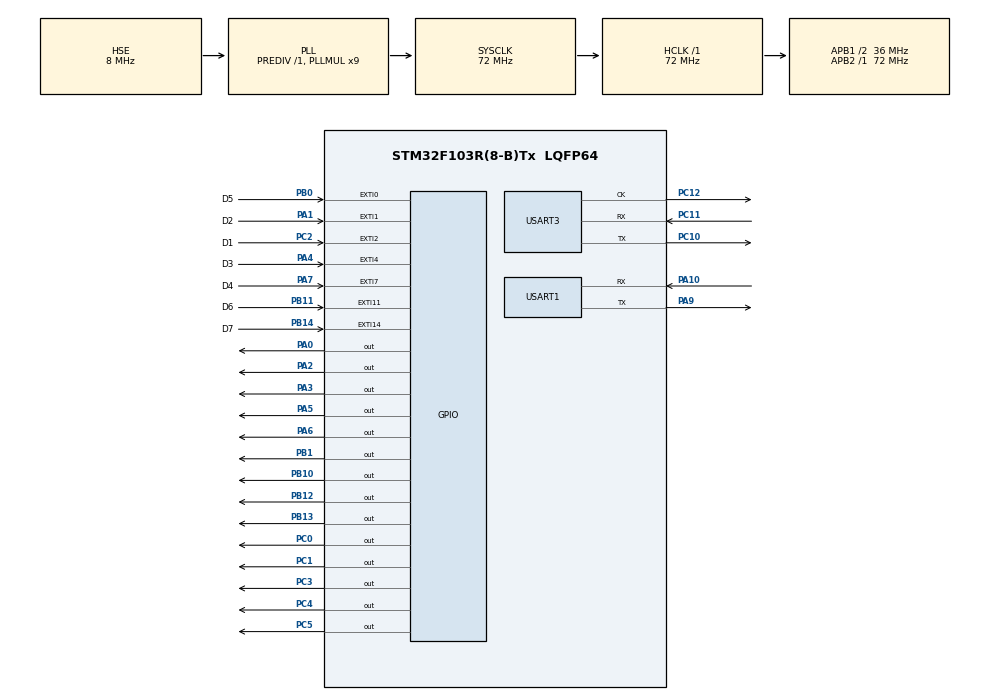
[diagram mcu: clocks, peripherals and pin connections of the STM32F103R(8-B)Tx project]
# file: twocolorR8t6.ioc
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FREERTOS.Tasks01=defaultTask,24,128,StartDefaultTask,Default,NULL,Dynamic,NULL,NULL;myTask02,8,128,StartTask02,As weak,NULL,Dynamic,NULL,NULL;myTask03,8,128,StartTask03,As weak,NULL,Dynamic,NULL,NULL;myTask04,8,128,StartTask04,As weak,NULL,Dynamic,NULL,NULL;myTask05,8,128,StartTask05,As weak,NULL,Dynamic,NULL,NULL;myTask06,8,128,StartTask06,As weak,NULL,Dynamic,NULL,NULL;myTask07,8,128,StartTask07,As weak,NULL,Dynamic,NULL,NULL
FREERTOS.configTOTAL_HEAP_SIZE=6072
Mcu.Family=STM32F1
Mcu.Name=STM32F103R(8-B)Tx
Mcu.Package=LQFP64
NVIC.EXTI0_IRQn=true\:5\:0\:true\:false\:true\:true\:true\:true\:true
NVIC.EXTI15_10_IRQn=true\:5\:0\:true\:false\:true\:true\:true\:true\:true
NVIC.EXTI1_IRQn=true\:5\:0\:true\:false\:true\:true\:true\:true\:true
NVIC.EXTI2_IRQn=true\:5\:0\:true\:false\:true\:true\:true\:true\:true
NVIC.EXTI4_IRQn=true\:5\:0\:true\:false\:true\:true\:true\:true\:true
NVIC.EXTI9_5_IRQn=true\:5\:0\:true\:false\:true\:true\:true\:true\:true
NVIC.PriorityGroup=NVIC_PRIORITYGROUP_4
NVIC.TIM3_IRQn=true\:5\:0\:false\:false\:true\:true\:true\:true\:true
NVIC.USART1_IRQn=true\:0\:0\:true\:false\:true\:true\:true\:true\:true
PA0-WKUP.Signal=GPIO_Output
PA1.GPIO_Label=D2
PA1.GPIO_ModeDefaultEXTI=GPIO_MODE_IT_RISING_FALLING
PA1.GPIO_PuPd=GPIO_PULLDOWN
PA1.Signal=GPXTI1
PA10.Mode=Asynchronous
PA10.Signal=USART1_RX
PA13.Mode=Serial_Wire
PA13.Signal=SYS_JTMS-SWDIO
PA14.Mode=Serial_Wire
PA14.Signal=SYS_JTCK-SWCLK
PA2.Signal=GPIO_Output
PA3.Signal=GPIO_Output
PA4.GPIO_Label=D3
PA4.GPIO_ModeDefaultEXTI=GPIO_MODE_IT_RISING_FALLING
PA4.GPIO_PuPd=GPIO_PULLDOWN
PA4.Signal=GPXTI4
PA5.Signal=GPIO_Output
PA6.Signal=GPIO_Output
PA7.GPIO_Label=D4
PA7.GPIO_ModeDefaultEXTI=GPIO_MODE_IT_RISING_FALLING
PA7.GPIO_PuPd=GPIO_PULLDOWN
PA7.Signal=GPXTI7
PA9.Mode=Asynchronous
PA9.Signal=USART1_TX
PB0.GPIO_Label=D5
PB0.GPIO_ModeDefaultEXTI=GPIO_MODE_IT_RISING_FALLING
PB0.GPIO_PuPd=GPIO_PULLDOWN
PB0.Signal=GPXTI0
PB1.Signal=GPIO_Output
PB10.Signal=GPIO_Output
PB11.GPIO_Label=D6
PB11.GPIO_ModeDefaultEXTI=GPIO_MODE_IT_RISING_FALLING
PB11.GPIO_PuPd=GPIO_PULLDOWN
PB11.Signal=GPXTI11
PB12.Signal=GPIO_Output
PB13.Signal=GPIO_Output
PB14.GPIO_Label=D7
PB14.GPIO_ModeDefaultEXTI=GPIO_MODE_IT_RISING_FALLING
PB14.GPIO_PuPd=GPIO_PULLDOWN
PB14.Signal=GPXTI14
PC0.Signal=GPIO_Output
PC1.Signal=GPIO_Output
PC10.Mode=Synchronous
PC10.Signal=USART3_TX
PC11.Mode=Synchronous
PC11.Signal=USART3_RX
PC12.Mode=Synchronous
PC12.Signal=USART3_CK
PC14-OSC32_IN.Mode=LSE-External-Oscillator
PC14-OSC32_IN.Signal=RCC_OSC32_IN
PC15-OSC32_OUT.Mode=LSE-External-Oscillator
PC15-OSC32_OUT.Signal=RCC_OSC32_OUT
PC2.GPIO_Label=D1
PC2.GPIO_ModeDefaultEXTI=GPIO_MODE_IT_RISING_FALLING
PC2.GPIO_PuPd=GPIO_PULLDOWN
PC2.Signal=GPXTI2
PC3.Signal=GPIO_Output
PC4.Signal=GPIO_Output
PC5.Signal=GPIO_Output
PD0-OSC_IN.Mode=HSE-External-Oscillator
PD0-OSC_IN.Signal=RCC_OSC_IN
PD1-OSC_OUT.Mode=HSE-External-Oscillator
PD1-OSC_OUT.Signal=RCC_OSC_OUT
ProjectManager.HeapSize=0x200
ProjectManager.StackSize=0x400
ProjectManager.TargetToolchain=STM32CubeIDE
RCC.AHBFreq_Value=72000000
RCC.APB1CLKDivider=RCC_HCLK_DIV2
RCC.APB1Freq_Value=36000000
RCC.APB1TimFreq_Value=72000000
RCC.APB2Freq_Value=72000000
RCC.APB2TimFreq_Value=72000000
RCC.HCLKFreq_Value=72000000
RCC.PLLMUL=RCC_PLL_MUL9
RCC.PLLSourceVirtual=RCC_PLLSOURCE_HSE
RCC.SYSCLKFreq_VALUE=72000000
RCC.SYSCLKSource=RCC_SYSCLKSOURCE_PLLCLK
RCC.USBFreq_Value=72000000
TIM3.AutoReloadPreload=TIM_AUTORELOAD_PRELOAD_ENABLE
TIM3.Period=49
TIM3.Prescaler=8399
USART1.VirtualMode=VM_ASYNC
USART3.VirtualMode=VM_SYNC
VP_FREERTOS_VS_CMSIS_V2.Mode=CMSIS_V2
VP_TIM3_VS_ClockSourceINT.Mode=Internal
board=custom

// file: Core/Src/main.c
/* USER CODE BEGIN Header */
/**
  ******************************************************************************
  * @file           : main.c
  * @brief          : Main program body
  ******************************************************************************
  * @attention
  *
  * Copyright (c) 2023 STMicroelectronics.
  * All rights reserved.
  *
  * This software is licensed under terms that can be found in the LICENSE file
  * in the root directory of this software component.
  * If no LICENSE file comes with this software, it is provided AS-IS.
  *
  ******************************************************************************
  */
/* USER CODE END Header */
#include "main.h"
#include "cmsis_os.h"
#include "tim.h"
#include "usart.h"
#include "gpio.h"

/* USER CODE BEGIN PD */
extern uint8_t uart1_rx_buf[UART1_RXSIZE];
/* USER CODE END PD */

/* USER CODE BEGIN PM */
char led1 = 0;
char led2 = 0;
char led3 = 0;
char led4 = 0;
char led5 = 0;
char led6 = 0;
char led7 = 0;

/* USER CODE END PM */

void SystemClock_Config(void);
void MX_FREERTOS_Init(void);

int main(void)
{

  /* MCU Configuration--------------------------------------------------------*/

  /* Reset of all peripherals, Initializes the Flash interface and the Systick. */
  HAL_Init();

  /* Configure the system clock */
  SystemClock_Config();

  /* Initialize all configured peripherals */
  MX_GPIO_Init();
  MX_USART1_UART_Init();
  MX_USART3_Init();
  MX_TIM3_Init();
  /* USER CODE BEGIN 2 */
  E_USART_INIT(&huart1);

  //HAL_GPIO_WritePin(GPIOA, GPIO_PIN_2, SET);
  red1();
  green1();
  yellowOn1();
  yellowOff1();
  yellowOn1();
  yellowOn2();
  yellowOn3();
  yellowOn4();
  yellowOn5();
  yellowOn6();
  yellowOn7();
  //ledInit();
  /* USER CODE END 2 */

  /* Init scheduler */
  osKernelInitialize();  /* Call init function for freertos objects (in freertos.c) */
  MX_FREERTOS_Init();

  /* Start scheduler */
  osKernelStart();

  /* We should never get here as control is now taken by the scheduler */
  /* Infinite loop */
  while (1)
  {

    /* USER CODE BEGIN 3 */
/*	  uint8_t receive_buff[1024] = {0};
      HAL_UART_Receive(&huart1,receive_buff,10,0xff);// 接收10个字�????????
      if(receive_buff[0] != 0)
      {
      yellowOn7();
      }else{
      yellowOff7();
      }*/
	/*  if(uart1.rx_flag == 1){
		  switch (uart1_rx_buf[0]){
		  case 0xA1:green7();
		  break;
		  case 0xA2:green6();
		  break;
		  case 0xA3:green5();
		  break;
		  case 0xA4:green4();
		  break;
		  case 0xA5:green3();
		  break;
		  case 0xA6:green2();
		  break;
		  case 0xA7:green1();
		  break;
		  case 0xB1:yellowOn7();
		  break;
		  case 0xB2:yellowOn6();
		  break;
		  case 0xB3:yellowOn5();
		  break;
		  case 0xB4:yellowOn4();
		  break;
		  case 0xB5:yellowOn3();
		  break;
		  case 0xB6:yellowOn2();
		  break;
		  case 0xB7:yellowOn1();
		  break;
		  }
		  uart1.rx_flag = 0;
	 }*/
  }
  /* USER CODE END 3 */
}

void SystemClock_Config(void)
{
  RCC_OscInitTypeDef RCC_OscInitStruct = {0};
  RCC_ClkInitTypeDef RCC_ClkInitStruct = {0};

  /** Initializes the RCC Oscillators according to the specified parameters
  * in the RCC_OscInitTypeDef structure.
  */
  RCC_OscInitStruct.OscillatorType = RCC_OSCILLATORTYPE_HSE;
  RCC_OscInitStruct.HSEState = RCC_HSE_ON;
  RCC_OscInitStruct.HSEPredivValue = RCC_HSE_PREDIV_DIV1;
  RCC_OscInitStruct.HSIState = RCC_HSI_ON;
  RCC_OscInitStruct.PLL.PLLState = RCC_PLL_ON;
  RCC_OscInitStruct.PLL.PLLSource = RCC_PLLSOURCE_HSE;
  RCC_OscInitStruct.PLL.PLLMUL = RCC_PLL_MUL9;
  if (HAL_RCC_OscConfig(&RCC_OscInitStruct) != HAL_OK)
  {
    Error_Handler();
  }

  /** Initializes the CPU, AHB and APB buses clocks
  */
  RCC_ClkInitStruct.ClockType = RCC_CLOCKTYPE_HCLK|RCC_CLOCKTYPE_SYSCLK
                              |RCC_CLOCKTYPE_PCLK1|RCC_CLOCKTYPE_PCLK2;
  RCC_ClkInitStruct.SYSCLKSource = RCC_SYSCLKSOURCE_PLLCLK;
  RCC_ClkInitStruct.AHBCLKDivider = RCC_SYSCLK_DIV1;
  RCC_ClkInitStruct.APB1CLKDivider = RCC_HCLK_DIV2;
  RCC_ClkInitStruct.APB2CLKDivider = RCC_HCLK_DIV1;

  if (HAL_RCC_ClockConfig(&RCC_ClkInitStruct, FLASH_LATENCY_2) != HAL_OK)
  {
    Error_Handler();
  }
}

/* USER CODE BEGIN 4 */
void HAL_GPIO_EXTI_Callback(uint16_t GPIO_Pin)//外部中断回调函数
{
	for_delay_us(10000);
//led1
	if(GPIO_Pin == D1_Pin){
	  	  uint8_t TxDataon[2]= {0x01, 0xDD};
	  	  HAL_UART_Transmit(&huart1,TxDataon,2,10);
		if(HAL_GPIO_ReadPin(GPIOC, GPIO_PIN_2) == 1){
			/*yellowOn1();
			for_delay_us(10000);
			yellowOff1();
			for_delay_us(10000);
			yellowOn1();
			for_delay_us(10000);
			yellowOff1();
			for_delay_us(30000);
			HAL_GPIO_WritePin(GPIOC, GPIO_PIN_1, SET);
			HAL_GPIO_WritePin(GPIOC, GPIO_PIN_0, RESET);*/
			led1 = 1;
		}else{
			/*HAL_GPIO_WritePin(GPIOC, GPIO_PIN_1, RESET);
			yellowOn1();
			for_delay_us(10000);
			yellowOff1();
			for_delay_us(10000);
			yellowOn1();
			for_delay_us(10000);
			yellowOff1();
			for_delay_us(30000);
			HAL_GPIO_WritePin(GPIOC, GPIO_PIN_0, SET);
			HAL_GPIO_WritePin(GPIOC, GPIO_PIN_1, RESET);*/
		}
	}
//led2
	if(GPIO_Pin == D2_Pin){
	  	  uint8_t TxDataon[2]= {0x06, 0xDD};
	  	  HAL_UART_Transmit(&huart1,TxDataon,2,10);
		if(HAL_GPIO_ReadPin(GPIOA, GPIO_PIN_1) == 1){
			/*while(1){
				if(uart1_rx_buf[0] == 0xC6){
								break;
							}
			yellowOn2();
			for_delay_us(10000);
			yellowOff2();
			for_delay_us(10000);
			}*/
			led2 = 1;
			//HAL_GPIO_WritePin(GPIOA, GPIO_PIN_0, SET);
			//HAL_GPIO_WritePin(GPIOC, GPIO_PIN_3, RESET);
		}else{
			/*HAL_GPIO_WritePin(GPIOA, GPIO_PIN_0, RESET);
			yellowOn2();
			for_delay_us(10000);
			yellowOff2();
			for_delay_us(10000);
			yellowOn2();
			for_delay_us(10000);
			yellowOff2();
			for_delay_us(10000);
			HAL_GPIO_WritePin(GPIOC, GPIO_PIN_3, SET);
			HAL_GPIO_WritePin(GPIOA, GPIO_PIN_0, RESET);*/
		}
	}
//led3
	if(GPIO_Pin == D3_Pin){
	  	  uint8_t TxDataon[2]= {0x05, 0xDD};
	  	  HAL_UART_Transmit(&huart1,TxDataon,2,10);
		if(HAL_GPIO_ReadPin(GPIOA, GPIO_PIN_4) == 1){
        led3 = 1;
		}else{
			/*HAL_GPIO_WritePin(GPIOA, GPIO_PIN_3, RESET);
			yellowOn3();
			for_delay_us(10000);
			yellowOff3();
			for_delay_us(10000);
			yellowOn3();
			for_delay_us(10000);
			yellowOff3();
			for_delay_us(10000);*/
			//HAL_GPIO_WritePin(GPIOA, GPIO_PIN_2, SET);
			//HAL_GPIO_WritePin(GPIOA, GPIO_PIN_3, RESET);
		}
	}
//led4
	if(GPIO_Pin == D4_Pin){
	  	  uint8_t TxDataon[2]= {0x04, 0xDD};
	  	  HAL_UART_Transmit(&huart1,TxDataon,2,10);
		if(HAL_GPIO_ReadPin(GPIOA, GPIO_PIN_7) == 1){
         led4 = 1;
		}else{
			/*HAL_GPIO_WritePin(GPIOA, GPIO_PIN_6, RESET);
			yellowOn4();
			for_delay_us(10000);
			yellowOff4();
			for_delay_us(10000);
			yellowOn4();
			for_delay_us(10000);
			yellowOff4();
			for_delay_us(30000);
			HAL_GPIO_WritePin(GPIOA, GPIO_PIN_5, SET);
			HAL_GPIO_WritePin(GPIOA, GPIO_PIN_6, RESET);*/
		}
	}
//led5
	if(GPIO_Pin == D5_Pin){
	  	  uint8_t TxDataon[2]= {0x03, 0xDD};
	  	  HAL_UART_Transmit(&huart1,TxDataon,2,10);
		if(HAL_GPIO_ReadPin(GPIOB, GPIO_PIN_0) == 1){
             led5 = 1;
		}else{
			/*HAL_GPIO_WritePin(GPIOC, GPIO_PIN_5, RESET);
			yellowOn5();
			for_delay_us(10000);
			yellowOff5();
			for_delay_us(10000);
			yellowOn5();
			for_delay_us(10000);
			yellowOff5();
			for_delay_us(30000);
			HAL_GPIO_WritePin(GPIOC, GPIO_PIN_4, SET);
			HAL_GPIO_WritePin(GPIOC, GPIO_PIN_5, RESET);*/
		}
	}
//led6
	if(GPIO_Pin == D6_Pin){
	  	  uint8_t TxDataon[2]= {0x02, 0xDD};
	  	  HAL_UART_Transmit(&huart1,TxDataon,2,10);
		if(HAL_GPIO_ReadPin(GPIOB, GPIO_PIN_11) == 1){
        led6 = 1;
		}else{
			/*HAL_GPIO_WritePin(GPIOB, GPIO_PIN_10, RESET);
			yellowOn6();
			for_delay_us(10000);
			yellowOff6();
			for_delay_us(10000);
			yellowOn6();
			for_delay_us(10000);
			yellowOff6();
			for_delay_us(30000);
			HAL_GPIO_WritePin(GPIOB, GPIO_PIN_1, SET);
			HAL_GPIO_WritePin(GPIOB, GPIO_PIN_10, RESET);*/
		}
	}
//led7
	if(GPIO_Pin == D7_Pin){
	  	  uint8_t TxDataon[2]= {0x01, 0xDD};
	  	  HAL_UART_Transmit(&huart1,TxDataon,2,10);
		if(HAL_GPIO_ReadPin(GPIOB, GPIO_PIN_14) == 1){
        led7 = 1;
		}else{
			/*HAL_GPIO_WritePin(GPIOB, GPIO_PIN_13, RESET);
			yellowOn7();
			for_delay_us(10000);
			yellowOff7();
			for_delay_us(10000);
			yellowOn7();
			for_delay_us(10000);
			yellowOff7();
			for_delay_us(30000);
			HAL_GPIO_WritePin(GPIOB, GPIO_PIN_12, SET);
			HAL_GPIO_WritePin(GPIOB, GPIO_PIN_13, RESET);*/
		}
	}
	//_HAL_GPIO_EXTI_CLEAR_IT(GPIO_Pin_2);//中断清理，防止影响下次按�?????????????????????????????

}
/* USER CODE END 4 */

void Error_Handler(void)
{
  __disable_irq();
  while (1)
  {
  }
}

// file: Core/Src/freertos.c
/* USER CODE BEGIN Header */
/**
  ******************************************************************************
  * File Name          : freertos.c
  * Description        : Code for freertos applications
  ******************************************************************************
  * @attention
  *
  * Copyright (c) 2024 STMicroelectronics.
  * All rights reserved.
  *
  * This software is licensed under terms that can be found in the LICENSE file
  * in the root directory of this software component.
  * If no LICENSE file comes with this software, it is provided AS-IS.
  *
  ******************************************************************************
  */
/* USER CODE END Header */

#include "FreeRTOS.h"
#include "task.h"
#include "main.h"
#include "cmsis_os.h"

/* USER CODE BEGIN Includes */
#include "gpio.h"
/* USER CODE END Includes */

/* USER CODE BEGIN PM */
extern char led1;
extern char led2;
extern char led3;
extern char led4;
extern char led5;
extern char led6;
extern char led7;
/* USER CODE END PM */

/* Definitions for defaultTask */
osThreadId_t defaultTaskHandle;
const osThreadAttr_t defaultTask_attributes = {
  .name = "defaultTask",
  .stack_size = 128 * 4,
  .priority = (osPriority_t) osPriorityNormal,
};
/* Definitions for myTask02 */
osThreadId_t myTask02Handle;
const osThreadAttr_t myTask02_attributes = {
  .name = "myTask02",
  .stack_size = 128 * 4,
  .priority = (osPriority_t) osPriorityLow,
};
/* Definitions for myTask03 */
osThreadId_t myTask03Handle;
const osThreadAttr_t myTask03_attributes = {
  .name = "myTask03",
  .stack_size = 128 * 4,
  .priority = (osPriority_t) osPriorityLow,
};
/* Definitions for myTask04 */
osThreadId_t myTask04Handle;
const osThreadAttr_t myTask04_attributes = {
  .name = "myTask04",
  .stack_size = 128 * 4,
  .priority = (osPriority_t) osPriorityLow,
};
/* Definitions for myTask05 */
osThreadId_t myTask05Handle;
const osThreadAttr_t myTask05_attributes = {
  .name = "myTask05",
  .stack_size = 128 * 4,
  .priority = (osPriority_t) osPriorityLow,
};
/* Definitions for myTask06 */
osThreadId_t myTask06Handle;
const osThreadAttr_t myTask06_attributes = {
  .name = "myTask06",
  .stack_size = 128 * 4,
  .priority = (osPriority_t) osPriorityLow,
};
/* Definitions for myTask07 */
osThreadId_t myTask07Handle;
const osThreadAttr_t myTask07_attributes = {
  .name = "myTask07",
  .stack_size = 128 * 4,
  .priority = (osPriority_t) osPriorityLow,
};

void StartDefaultTask(void *argument);
void StartTask02(void *argument);
void StartTask03(void *argument);
void StartTask04(void *argument);
void StartTask05(void *argument);
void StartTask06(void *argument);
void StartTask07(void *argument);

void MX_FREERTOS_Init(void); /* (MISRA C 2004 rule 8.1) */

void MX_FREERTOS_Init(void) {

  /* Create the thread(s) */
  /* creation of defaultTask */
  defaultTaskHandle = osThreadNew(StartDefaultTask, NULL, &defaultTask_attributes);

  /* creation of myTask02 */
  myTask02Handle = osThreadNew(StartTask02, NULL, &myTask02_attributes);

  /* creation of myTask03 */
  myTask03Handle = osThreadNew(StartTask03, NULL, &myTask03_attributes);

  /* creation of myTask04 */
  myTask04Handle = osThreadNew(StartTask04, NULL, &myTask04_attributes);

  /* creation of myTask05 */
  myTask05Handle = osThreadNew(StartTask05, NULL, &myTask05_attributes);

  /* creation of myTask06 */
  myTask06Handle = osThreadNew(StartTask06, NULL, &myTask06_attributes);

  /* creation of myTask07 */
  myTask07Handle = osThreadNew(StartTask07, NULL, &myTask07_attributes);

}

void StartDefaultTask(void *argument)
{
  for(;;)
  {
    osDelay(1);
  }
}

__weak void StartTask02(void *argument)
{
  /* USER CODE BEGIN StartTask02 */
  /* Infinite loop */
  for(;;)
  {
    osDelay(1);
    if(led4 == 1){
		yellowOn4();
		for_delay_us(10000);
		yellowOff4();
		for_delay_us(10000);
  }
  /* USER CODE END StartTask02 */
}
}
__weak void StartTask03(void *argument)
{
  /* USER CODE BEGIN StartTask03 */
  /* Infinite loop */
  for(;;)
  {
    osDelay(1);
    if(led2 == 1){
		yellowOn2();
		for_delay_us(10000);
		yellowOff2();
		for_delay_us(10000);
    }
  }
  /* USER CODE END StartTask03 */
}

__weak void StartTask04(void *argument)
{
  /* USER CODE BEGIN StartTask04 */
  /* Infinite loop */
  for(;;)
  {
    osDelay(1);
    if(led3 == 1){
		yellowOn3();
		for_delay_us(10000);
		yellowOff3();
		for_delay_us(10000);
  }
  /* USER CODE END StartTask04 */
}
}
__weak void StartTask05(void *argument)
{
  /* USER CODE BEGIN StartTask05 */
  /* Infinite loop */
  for(;;)
  {
    osDelay(1);
    if(led7 == 1){
		yellowOn7();
		for_delay_us(10000);
		yellowOff7();
		for_delay_us(10000);
  }
  /* USER CODE END StartTask05 */
}
}
__weak void StartTask06(void *argument)
{
  /* USER CODE BEGIN StartTask06 */
  /* Infinite loop */
  for(;;)
  {
    osDelay(1);
    if(led5 == 1){
		yellowOn5();
		for_delay_us(10000);
		yellowOff5();
		for_delay_us(10000);
  }
  /* USER CODE END StartTask06 */
}
}
__weak void StartTask07(void *argument)
{
  /* USER CODE BEGIN StartTask07 */
  /* Infinite loop */
  for(;;)
  {
    osDelay(1);
    if(led6 == 1){
		yellowOn6();
		for_delay_us(10000);
		yellowOff6();
		for_delay_us(10000);
  }
  /* USER CODE END StartTask07 */
}
}
